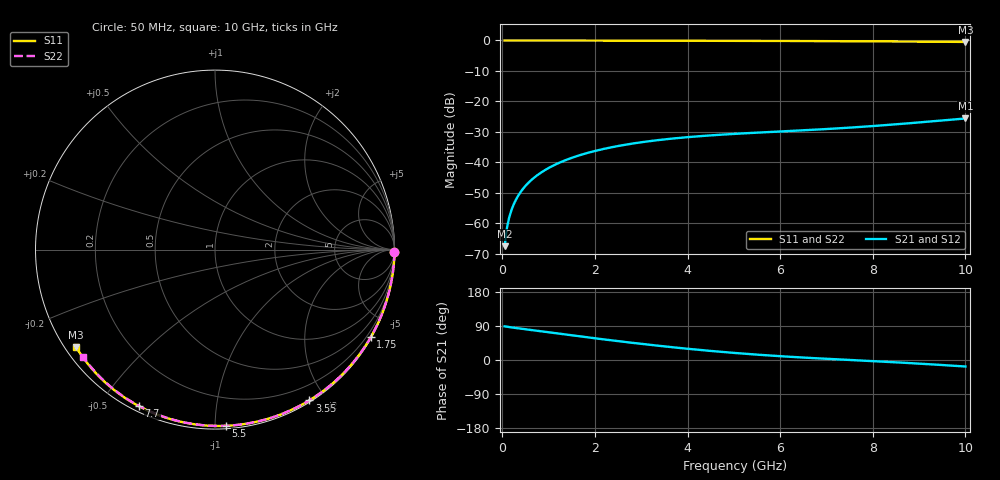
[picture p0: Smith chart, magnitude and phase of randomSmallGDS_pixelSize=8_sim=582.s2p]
! freq	dB(S11)	phase(S11)	dB(S12)	phase(S12)
!  dB(S21)	phase(S21)	dB(S22)	phase(S22)
!S-par simulation data
#  GHz  S  DB  R 50
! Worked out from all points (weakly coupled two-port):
!   200 points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, 50 MHz to 10 GHz, reference 50 ohm
!   highest |S21| = -25.62 dB at 10 GHz (marker M1); lowest = -67.6 dB at 50 MHz (marker M2)
!   lowest |S11| = -0.5 dB at 10 GHz (marker M3), VSWR 35.94, Z = 1.53 - j15.9 ohm
!   |S11| at or under -10 dB: nowhere
!   |S22| runs from -0.5 to 0.0 dB; largest |S21 - S12| = 0
!   S11 on the Smith chart (normalised r, x): 50 MHz: open; 1.75 GHz: 0.03, -3.81; 3.55 GHz: 0.02, -1.80; 5.5 GHz: 0.02, -1.06; 7.7 GHz: 0.02, -0.63; 10 GHz: 0.03, -0.32
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0.05  -0.00 -0.9  -67.56 88.9  -67.56 88.9  -0.00 -0.8
0.1  -0.00 -1.7  -61.57 87.8  -61.57 87.8  -0.00 -1.7
0.15  -0.00 -2.6  -58.08 86.8  -58.08 86.8  -0.00 -2.5
0.2  -0.00 -3.4  -55.61 85.9  -55.61 85.9  -0.00 -3.3
0.25  -0.00 -4.3  -53.70 85.1  -53.70 85.1  -0.00 -4.2
0.35  -0.00 -6.0  -50.82 83.5  -50.82 83.5  -0.00 -5.8
0.5  -0.01 -8.5  -47.77 81.1  -47.77 81.1  -0.01 -8.3
0.7  -0.01 -11.9  -44.90 77.9  -44.90 77.9  -0.01 -11.6
1  -0.02 -16.9  -41.89 73.1  -41.89 73.1  -0.02 -16.5
1.35  -0.03 -22.8  -39.40 67.5  -39.40 67.5  -0.03 -22.1
1.75  -0.04 -29.4  -37.33 61.2  -37.33 61.2  -0.04 -28.6
2.5  -0.05 -41.5  -34.67 49.8  -34.67 49.8  -0.05 -40.4
3.4  -0.08 -55.7  -32.66 37.2  -32.66 37.2  -0.07 -54.2
3.55  -0.08 -58.0  -32.41 35.3  -32.41 35.3  -0.08 -56.4
4.3  -0.10 -69.3  -31.39 26.2  -31.39 26.2  -0.10 -67.4
5.05  -0.12 -80.2  -30.65 18.3  -30.65 18.3  -0.12 -78.0
5.5  -0.14 -86.5  -30.28 14.1  -30.28 14.1  -0.14 -84.2
6.7  -0.20 -102.8  -29.35 5.1  -29.35 5.1  -0.20 -100.2
7.7  -0.26 -115.9  -28.43 -1.1  -28.43 -1.1  -0.26 -112.9
8.35  -0.32 -124.1  -27.72 -5.1  -27.72 -5.1  -0.31 -120.9
9.2  -0.40 -134.8  -26.67 -11.0  -26.67 -11.0  -0.39 -131.3
10  -0.48 -144.8  -25.62 -17.2  -25.62 -17.2  -0.47 -141.0
